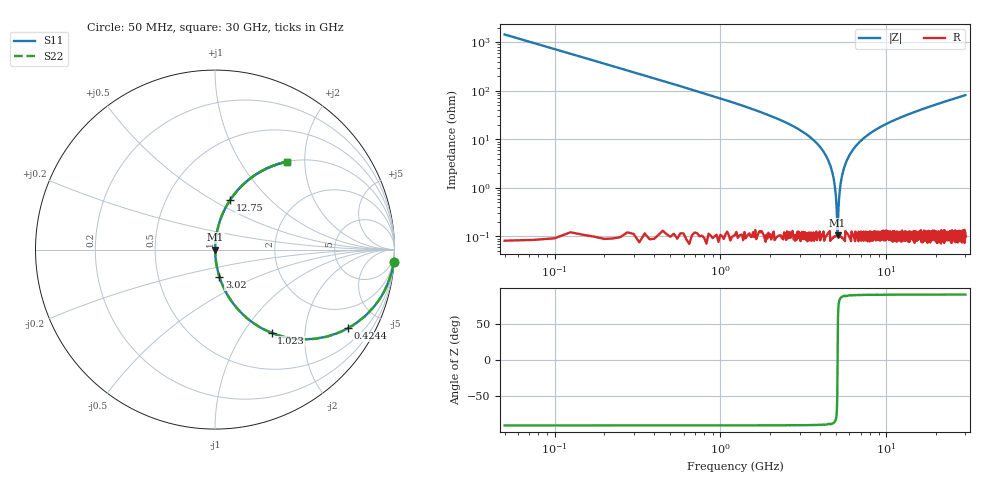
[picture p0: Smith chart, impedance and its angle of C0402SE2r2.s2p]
!	AVX Thin Film Operation 	Date: April 2014
!	Description: Accu-P® Series, Thin Film  SMD RF Capacitor
!	Part Number: 04025J2R2QBSTR
# MHZ S MA R 50
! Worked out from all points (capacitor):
!   1201 points, 50 MHz to 30 GHz, reference 50 ohm
!   read as one part in series: C = 2.2 pF near 199.8 MHz
!   lowest |Z| = 106 mohm at 5.092 GHz (marker M1)
!   series resonance near 5.087 GHz, so ESL is about 440 pH
!   S11 on the Smith chart (normalised r, x): 50 MHz: 1, -29; 424.4 MHz: 1.00, -3.39; 1.023 GHz: 1.00, -1.36; 3.02 GHz: 1.00, -0.31; 12.75 GHz: 1.00, +0.60; 30 GHz: 1.00, +1.63
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50  0.998 -4.0  0.069 86.0  0.069 86.0  0.998 -4.0
249.667  0.945 -19.1  0.327 70.9  0.327 70.9  0.945 -19.1
424.375  0.861 -30.6  0.508 59.4  0.508 59.4  0.861 -30.6
1023.375  0.561 -55.8  0.827 34.1  0.827 34.1  0.561 -55.8
1772.125  0.337 -70.1  0.94 19.7  0.94 19.7  0.337 -70.1
3020.042  0.153 -80.8  0.987 8.8  0.987 8.8  0.153 -80.8
3918.542  0.075 -84.9  0.996 4.3  0.996 4.3  0.075 -84.9
4467.625  0.037 -86.3  0.998 2.1  0.998 2.1  0.037 -86.3
4792.083  0.017 -85.5  0.999 1.0  0.999 1.0  0.017 -85.5
5041.667  0.002728 -67.5  0.999 0.1  0.999 0.1  0.002728 -67.5
5091.583  0.001076 14.9  0.999 -0.0  0.999 -0.0  0.001076 14.9
5191.417  0.005888 79.5  0.999 -0.3  0.999 -0.3  0.005888 79.5
5366.125  0.015 85.2  0.999 -0.9  0.999 -0.9  0.015 85.2
5540.833  0.024 86.2  0.999 -1.4  0.999 -1.4  0.024 86.2
6264.625  0.06 85.6  0.997 -3.4  0.997 -3.4  0.06 85.6
7762.125  0.123 82.5  0.991 -7.1  0.991 -7.1  0.123 82.5
10058.29  0.205 77.9  0.978 -11.8  0.978 -11.8  0.205 77.9
12753.79  0.287 73.1  0.957 -16.7  0.957 -16.7  0.287 73.1
15025  0.348 69.5  0.936 -20.4  0.936 -20.4  0.348 69.5
20016.67  0.463 62.3  0.885 -27.6  0.885 -27.6  0.463 62.3
25033.29  0.557 56.1  0.83 -33.8  0.83 -33.8  0.557 56.1
30000  0.631 50.8  0.775 -39.1  0.775 -39.1  0.631 50.8
